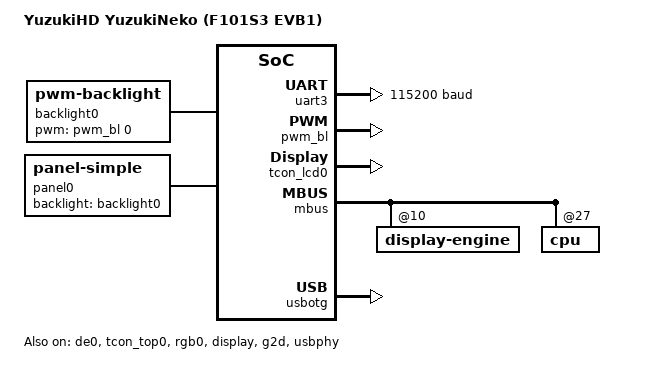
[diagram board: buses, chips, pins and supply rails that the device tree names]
/*
 * Copyright (c) 2026 Yuzuki Tsuru
 *
 * SPDX-License-Identifier: Apache-2.0
 */

/*
 * F101S3 EVB1 variant of the YuzukiNeko board.
 *
 * Everything of yuzukineko.dts stays; this file only switches the console
 * to the EVB debug UART (UART3) and adds the display, the PWM_BL backlight
 * and the MBUS settings of the EVB. The peripherals that share pins with
 * them are turned off.
 */

#include "yuzukineko.dts"
#include <zephyr/dt-bindings/display/sunxi-display.h>
#include <zephyr/dt-bindings/pwm/pwm.h>
#include <zephyr/dt-bindings/misc/sun252i-f101-mbus.h>

/ {
	model = "YuzukiHD YuzukiNeko (F101S3 EVB1)";

	chosen {
		zephyr,console = &uart3;
		zephyr,shell-uart = &uart3;
		zephyr,display = &display;
	};
};

/* UART3 console on PE08 (TX) / PE09 (RX), muxsel 6 (EVB1 debug UART) */
&pio {
	uart3_pins: uart3_pins {
		uart3_tx_rx {
			pinmux = <ALLWINNER_PINMUX(ALLWINNER_PIO_PE, 8, 6)
				  ALLWINNER_PINMUX(ALLWINNER_PIO_PE, 9, 6)>;
		};
	};

	pwm_bl_pins: pwm_bl_pins {
		pwm_bl_group {
			pinmux = <ALLWINNER_PINMUX(ALLWINNER_PIO_PB, 0, 2)
				  ALLWINNER_PINMUX(ALLWINNER_PIO_PB, 1, 2)
				  ALLWINNER_PINMUX(ALLWINNER_PIO_PB, 2, 2)
				  ALLWINNER_PINMUX(ALLWINNER_PIO_PB, 3, 2)>;
		};
	};
};

&uart3 {
	status = "okay";
	current-speed = <115200>;
	pinctrl-0 = <&uart3_pins>;
	pinctrl-names = "default";
};

/* UART1 (PB00/PB01) is not wired to the console of the EVB */
&uart1 {
	status = "disabled";
};

/* pins shared with the UART3 console and the LCD */
&i2c0 {
	status = "disabled";
};

&dbi {
	status = "disabled";
};

&pwm {
	status = "disabled";
};

/* PWM_BL backlight: PB0..PB3 mux 2 */
&pwm_bl {
	status = "okay";
	pinctrl-0 = <&pwm_bl_pins>;
	pinctrl-names = "default";
};

/*
 * 1024x600 RGB666 panel of the EVB:
 *
 *   de0 -> tcon_lcd0 -> rgb0 -> panel0, backlight0 on the PWM_BL block
 */
&pio {
	rgb_pins: rgb_pins {
		rgb_lcd {
			pinmux = <ALLWINNER_PINMUX(ALLWINNER_PIO_PD, 0, 2)
				  ALLWINNER_PINMUX(ALLWINNER_PIO_PD, 1, 2)
				  ALLWINNER_PINMUX(ALLWINNER_PIO_PD, 2, 2)
				  ALLWINNER_PINMUX(ALLWINNER_PIO_PD, 3, 2)
				  ALLWINNER_PINMUX(ALLWINNER_PIO_PD, 4, 2)
				  ALLWINNER_PINMUX(ALLWINNER_PIO_PD, 5, 2)
				  ALLWINNER_PINMUX(ALLWINNER_PIO_PD, 6, 2)
				  ALLWINNER_PINMUX(ALLWINNER_PIO_PD, 7, 2)
				  ALLWINNER_PINMUX(ALLWINNER_PIO_PD, 8, 2)
				  ALLWINNER_PINMUX(ALLWINNER_PIO_PD, 9, 2)
				  ALLWINNER_PINMUX(ALLWINNER_PIO_PE, 6, 4)
				  ALLWINNER_PINMUX(ALLWINNER_PIO_PE, 7, 4)
				  ALLWINNER_PINMUX(ALLWINNER_PIO_PD, 12, 2)
				  ALLWINNER_PINMUX(ALLWINNER_PIO_PD, 13, 2)
				  ALLWINNER_PINMUX(ALLWINNER_PIO_PD, 14, 2)
				  ALLWINNER_PINMUX(ALLWINNER_PIO_PD, 15, 2)
				  ALLWINNER_PINMUX(ALLWINNER_PIO_PD, 16, 2)
				  ALLWINNER_PINMUX(ALLWINNER_PIO_PD, 17, 2)
				  ALLWINNER_PINMUX(ALLWINNER_PIO_PD, 18, 2)
				  ALLWINNER_PINMUX(ALLWINNER_PIO_PD, 19, 2)
				  ALLWINNER_PINMUX(ALLWINNER_PIO_PD, 20, 2)
				  ALLWINNER_PINMUX(ALLWINNER_PIO_PD, 21, 2)>;
		};
	};
};

/ {
	backlight0: backlight {
		compatible = "pwm-backlight";
		pwms = <&pwm_bl 0 20000 PWM_POLARITY_INVERTED>;
		max-level = <255>;
		default-level = <250>;
	};

	panel0: panel {
		compatible = "panel-simple";
		width = <1024>;
		height = <600>;
		width-mm = <154>;
		height-mm = <86>;
		bus-format = "rgb666-1x18";
		enable-delay-ms = <50>;
		backlight = <&backlight0>;

		/* PD22 switches the panel supply */
		power-on-sequence = <SUNXI_CMD_GPIO(SUNXI_PIN(ALLWINNER_PIO_PD, 22), 1)
				     SUNXI_CMD_DELAY(30)>;
		power-off-sequence = <SUNXI_CMD_GPIO(SUNXI_PIN(ALLWINNER_PIO_PD, 22), 0)
				      SUNXI_CMD_DELAY(20)>;

		display-timings {
			compatible = "zephyr,panel-timing";
			clock-frequency = <49000000>;
			hsync-len = <20>;
			hfront-porch = <161>;
			hback-porch = <35>;
			vsync-len = <10>;
			vfront-porch = <15>;
			vback-porch = <25>;
			hsync-active = <0>;
			vsync-active = <0>;
			de-active = <1>;
			pixelclk-active = <1>;
		};
	};
};

&de0 {
	status = "okay";
	brightness = <50>;
	contrast = <50>;
	saturation = <57>;
	hue = <50>;
};

&tcon_top0 {
	status = "okay";
};

&tcon_lcd0 {
	status = "okay";
};

&rgb0 {
	status = "okay";
	pinctrl-0 = <&rgb_pins>;
	pinctrl-names = "default";
	hv-mode = <SUNXI_HV_PARALLEL_RGB>;
	rgb-swap = <5>;

	ports {
		#address-cells = <1>;
		#size-cells = <0>;

		port@1 {
			reg = <1>;
			#address-cells = <1>;
			#size-cells = <0>;

			endpoint@0 {
				reg = <0>;
				remote-endpoint = <&panel0>;
			};
		};
	};
};

&display {
	status = "okay";
	width = <1024>;
	height = <600>;
};

/* DE at top priority, RISCV capped */
&mbus {
	status = "okay";

	display-engine@10 {
		reg = <SUN252I_F101_MBUS_MASTER_DE>;
		priority = <3>;
	};

	cpu@27 {
		reg = <SUN252I_F101_MBUS_MASTER_RISCV>;
		bandwidth-limit-mbps = <500>;
	};
};

/* 2D graphics accelerator */
&g2d {
	status = "okay";
};

/* USB 2.0 OTG port, device mode. The PHY is shared with the host controllers. */
&usbphy {
	status = "okay";
};

&usbotg {
	status = "okay";
};
